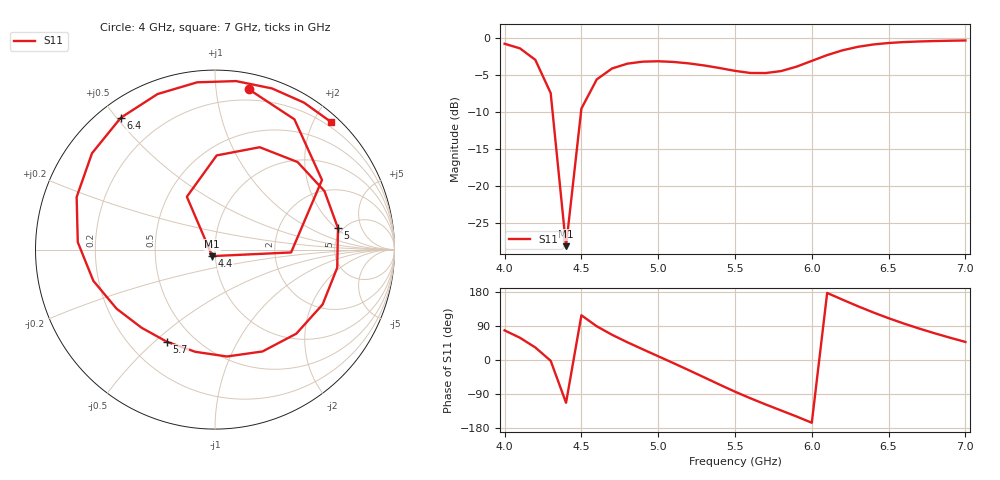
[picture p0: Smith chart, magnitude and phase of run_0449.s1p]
! Touchstone file exported from HFSS 2024.2.0
!  File:  C:/Users/wsak9/Desktop/Sim Fast/Widenad Patch/WP_AI_V1_sweep.aedt
!  Generated:  10:31:45 AM Oct 14, 2026
!  Design:  A1_model
!  Project:  WP_AI_V1_sweep
!  Setup:  Setup1
!  Solution:  Sweep
! Variables:
!  Air_gap = 2.59mm
!  Curve_Amp1 = 0.73
!  Curve_len1 = 1
!  Curve_pos = 12.285mm
!  Extra = 1.48mm
!  H_sub = 0.79mm
!  L_Patch = 20.57mm
!  L_Patch1 = 15.25mm
!  Sx = 0.24mm
!  Sy = 1.2mm
!  WS = 0.51mm
!  W_Patch = 18.94mm
!  W_Patch1 = 13.77mm
!Data is not renormalized
# GHz S MA
! Terminal data exported
! Port[1] = 1
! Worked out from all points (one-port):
!   31 points, 4 GHz to 7 GHz, reference per port
!   lowest |S11| = -28.1 dB at 4.4 GHz (marker M1), VSWR 1.08
!   |S11| at or under -10 dB: 4.312 GHz to 4.497 GHz (185.1 MHz wide, 4.2 % of centre)
!   S11 on the Smith chart (normalised r, x): 4 GHz: 0.11, +1.22; 4.4 GHz: 0.97, -0.07; 5 GHz: 4.55, +2.11; 5.7 GHz: 0.36, -0.55; 6.4 GHz: 0.06, +0.51; 7 GHz: 0.12, +2.26
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4  0.9132 78.2
4.1  0.85 58.6
4.2  0.7112 33.1
4.3  0.4242 -2.1
4.4  0.03935 -112.9
4.5  0.3337 118.0
4.6  0.5249 89.0
4.7  0.6224 66.4
4.8  0.6705 46.7
4.9  0.6914 28.1
5  0.6956 9.9
5.1  0.6883 -8.4
5.2  0.673 -27.0
5.3  0.6516 -46.0
5.4  0.6262 -65.0
5.5  0.5992 -83.6
5.7  0.5793 -117.4
5.9  0.6394 -149.0
6  0.6998 -165.6
6.1  0.7656 176.9
6.2  0.8246 159.2
6.3  0.8706 141.9
6.4  0.9028 125.6
6.5  0.9239 110.3
6.6  0.9373 96.1
6.7  0.9462 82.9
6.8  0.9524 70.5
7  0.9611 47.7
